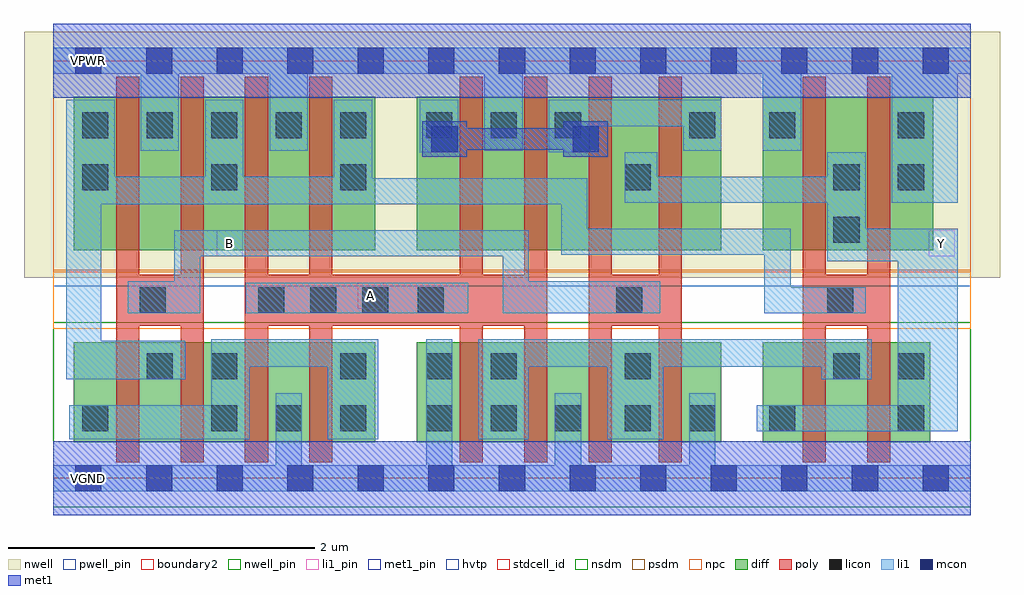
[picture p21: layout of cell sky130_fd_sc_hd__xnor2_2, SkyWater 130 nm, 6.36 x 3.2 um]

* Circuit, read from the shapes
.subckt sky130_fd_sc_hd__xnor2_2 A B VGND VNB VPB VPWR Y
XM1 n1 B n2 VNB sky130_fd_pr__nfet_01v8 w=0.65 l=0.15 m=2
XM2 VGND A n2 VNB sky130_fd_pr__nfet_01v8 w=0.65 l=0.15 m=2
XM3 n3 A VGND VNB sky130_fd_pr__nfet_01v8 w=0.65 l=0.15 m=2
XM4 n3 B VGND VNB sky130_fd_pr__nfet_01v8 w=0.65 l=0.15 m=2
XM5 n3 n1 Y VNB sky130_fd_pr__nfet_01v8 w=0.65 l=0.15 m=2
XM6 VPWR B n1 VPB sky130_fd_pr__pfet_01v8_hvt w=1 l=0.15 m=2
XM7 VPWR A n1 VPB sky130_fd_pr__pfet_01v8_hvt w=1 l=0.15 m=2
XM8 VPWR A n4 VPB sky130_fd_pr__pfet_01v8_hvt w=1 l=0.15 m=2
XM9 Y B n4 VPB sky130_fd_pr__pfet_01v8_hvt w=1 l=0.15 m=2
XM10 Y n1 VPWR VPB sky130_fd_pr__pfet_01v8_hvt w=1 l=0.15 m=2
.ends

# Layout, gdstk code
import gdstk
lib = gdstk.Library(unit=1e-6, precision=1e-09)
def R(c, l, rs):  # rectangles x0, y0, x1, y1
    for r in rs: c.add(gdstk.rectangle(r[:2], r[2:], *l))
def A(c, l, x, y, w, h, nx, ny, dx, dy):  # array of equal rectangles
    R(c, l, [(x+i*dx, y+j*dy, x+i*dx+w, y+j*dy+h) for i in range(nx) for j in range(ny)])
def P(c, l, *ps):  # polygons
    for p in ps: c.add(gdstk.Polygon(p, *l))
nwell_pin = (64, 16)
nwell = (64, 20)
diff = (65, 20)
poly = (66, 20)
licon = (66, 44)
li1_pin = (67, 16)
li1 = (67, 20)
mcon = (67, 44)
met1_pin = (68, 16)
met1 = (68, 20)
hvtp = (78, 44)
stdcell_id = (81, 4)
nsdm = (93, 44)
psdm = (94, 20)
npc = (95, 20)
pwell_pin = (122, 16)
boundary2 = (236, 0)

sky130_fd_sc_hd__xnor2_2 = lib.new_cell('sky130_fd_sc_hd__xnor2_2')
R(sky130_fd_sc_hd__xnor2_2, nwell_pin, [(0.145,2.635,0.315,2.805)])
R(sky130_fd_sc_hd__xnor2_2, nwell, [(-0.19,1.305,6.17,2.91)])
R(sky130_fd_sc_hd__xnor2_2, diff, [(0.135,0.235,2.1,0.885), (2.37,0.235,4.355,0.885), (4.625,0.235,5.715,0.885), (0.135,1.485,2.1,2.485), (2.37,1.485,4.355,2.485), (4.625,1.485,5.735,2.485)])
P(sky130_fd_sc_hd__xnor2_2, poly, [(0.98,2.615),(0.83,2.615),(0.83,1.325),(0.56,1.325),(0.56,2.615),(0.41,2.615),(0.41,0.105),(0.56,0.105),(0.56,0.995),(0.83,0.995),(0.83,0.105),(0.98,0.105)],
  [(3.22,2.615),(3.07,2.615),(3.07,1.325),(2.8,1.325),(2.8,2.615),(2.65,2.615),(2.65,1.325),(1.82,1.325),(1.82,2.615),(1.67,2.615),(1.67,1.325),(1.4,1.325),(1.4,2.615),(1.25,2.615),(1.25,0.105),(1.4,0.105),(1.4,0.995),(1.67,0.995),(1.67,0.105),(1.82,0.105),(1.82,0.995),(2.65,0.995),(2.65,0.105),(2.8,0.105),(2.8,0.995),(3.07,0.995),(3.07,0.105),(3.22,0.105)],
  [(4.095,2.615),(3.945,2.615),(3.945,1.325),(3.64,1.325),(3.64,2.615),(3.49,2.615),(3.49,0.105),(3.64,0.105),(3.64,0.995),(3.945,0.995),(3.945,0.105),(4.095,0.105)],
  [(5.455,2.615),(5.305,2.615),(5.305,1.325),(5.035,1.325),(5.035,2.615),(4.885,2.615),(4.885,0.105),(5.035,0.105),(5.035,0.995),(5.305,0.995),(5.305,0.105),(5.455,0.105)])
A(sky130_fd_sc_hd__xnor2_2, licon, 1.03, 0.305, 0.17, 0.17, 3, 1, 0.42, 0)
A(sky130_fd_sc_hd__xnor2_2, licon, 2.43, 0.305, 0.17, 0.17, 3, 2, 0.42, 1.91)
A(sky130_fd_sc_hd__xnor2_2, licon, 1.335, 1.075, 0.17, 0.17, 3, 1, 0.34, 0)
A(sky130_fd_sc_hd__xnor2_2, licon, 0.19, 1.875, 0.17, 0.17, 3, 1, 0.84, 0)
A(sky130_fd_sc_hd__xnor2_2, licon, 0.19, 2.215, 0.17, 0.17, 5, 1, 0.42, 0)
R(sky130_fd_sc_hd__xnor2_2, licon, [(0.19,0.305,0.36,0.475), (3.725,0.305,3.895,0.475), (4.145,0.305,4.315,0.475), (4.665,0.305,4.835,0.475), (5.505,0.305,5.675,0.475), (0.61,0.645,0.78,0.815), (1.03,0.645,1.2,0.815), (1.87,0.645,2.04,0.815), (2.43,0.645,2.6,0.815), (2.85,0.645,3.02,0.815), (3.725,0.645,3.895,0.815), (5.085,0.645,5.255,0.815), (5.505,0.645,5.675,0.815), (0.565,1.075,0.735,1.245), (2.375,1.075,2.545,1.245), (3.67,1.075,3.84,1.245), (5.045,1.075,5.215,1.245), (5.085,1.535,5.255,1.705), (3.725,1.875,3.895,2.045), (5.085,1.875,5.255,2.045), (5.505,1.875,5.675,2.045), (4.145,2.215,4.315,2.385), (4.665,2.215,4.835,2.385), (5.505,2.215,5.675,2.385)])
R(sky130_fd_sc_hd__xnor2_2, li1_pin, [(1.985,1.105,2.155,1.275), (1.065,1.445,1.235,1.615), (5.705,1.445,5.875,1.615)])
R(sky130_fd_sc_hd__xnor2_2, li1, [(1.255,1.075,2.705,1.275), (2.39,2.125,2.64,2.465)])
P(sky130_fd_sc_hd__xnor2_2, li1, [(2.12,0.905),(1.03,0.905),(1.03,0.475),(0.105,0.475),(0.105,0.255),(1.28,0.255),(1.28,0.725),(1.79,0.725),(1.79,0.255),(2.12,0.255)],
  [(4.355,2.465),(3.23,2.465),(3.23,2.125),(3.555,2.125),(3.555,2.295),(4.105,2.295),(4.105,2.135),(4.355,2.135)],
  [(5.295,1.245),(4.805,1.245),(4.805,1.625),(3.48,1.625),(3.48,1.955),(2.08,1.955),(2.08,2.465),(1.83,2.465),(1.83,1.965),(1.24,1.965),(1.24,2.465),(0.99,2.465),(0.99,1.965),(0.4,1.965),(0.4,2.465),(0.085,2.465),(0.085,0.645),(0.86,0.645),(0.86,0.895),(0.315,0.895),(0.315,1.785),(3.31,1.785),(3.31,1.455),(4.635,1.455),(4.635,1.075),(5.295,1.075)],
  [(5.335,0.905),(2.77,0.905),(2.77,0.255),(3.1,0.255),(3.1,0.725),(3.61,0.725),(3.61,0.255),(3.975,0.255),(3.975,0.725),(5.005,0.725),(5.005,0.645),(5.335,0.645)],
  [(5.895,1.625),(5.295,1.625),(5.295,2.125),(5.045,2.125),(5.045,1.965),(3.935,1.965),(3.935,2.125),(3.725,2.125),(3.725,1.795),(5.045,1.795),(5.045,1.415),(5.505,1.415),(5.505,0.475),(4.585,0.475),(4.585,0.305),(5.895,0.305)],
  [(5.98,2.805),(0,2.805),(0,2.635),(0.57,2.635),(0.57,2.135),(0.82,2.135),(0.82,2.635),(1.41,2.635),(1.41,2.135),(1.66,2.135),(1.66,2.635),(2.81,2.635),(2.81,2.135),(3.06,2.135),(3.06,2.635),(4.625,2.635),(4.625,2.135),(4.875,2.135),(4.875,2.635),(5.465,2.635),(5.465,1.795),(5.895,1.795),(5.895,2.635),(5.98,2.635)],
  [(5.98,0.085),(4.315,0.085),(4.315,0.555),(4.145,0.555),(4.145,0.085),(3.44,0.085),(3.44,0.555),(3.27,0.555),(3.27,0.085),(2.6,0.085),(2.6,0.905),(2.43,0.905),(2.43,0.085),(1.62,0.085),(1.62,0.555),(1.45,0.555),(1.45,0.085),(0,0.085),(0,-0.085),(5.98,-0.085)],
  [(3.955,1.285),(3.1,1.285),(3.1,1.615),(0.79,1.615),(0.79,1.285),(0.485,1.285),(0.485,1.075),(0.96,1.075),(0.96,1.445),(2.93,1.445),(2.93,1.075),(3.955,1.075)])
A(sky130_fd_sc_hd__xnor2_2, mcon, 0.145, -0.085, 0.17, 0.17, 13, 2, 0.46, 2.72)
R(sky130_fd_sc_hd__xnor2_2, mcon, [(2.465,2.125,2.635,2.295), (3.385,2.125,3.555,2.295)])
R(sky130_fd_sc_hd__xnor2_2, met1_pin, [(0.145,-0.085,0.315,0.085), (0.145,2.635,0.315,2.805)])
P(sky130_fd_sc_hd__xnor2_2, met1, [(3.615,2.325),(3.325,2.325),(3.325,2.28),(2.695,2.28),(2.695,2.325),(2.405,2.325),(2.405,2.095),(2.695,2.095),(2.695,2.14),(3.325,2.14),(3.325,2.095),(3.615,2.095)])
R(sky130_fd_sc_hd__xnor2_2, hvtp, [(0,1.25,5.98,2.72)])
R(sky130_fd_sc_hd__xnor2_2, stdcell_id, [(0,0,5.98,2.72)])
R(sky130_fd_sc_hd__xnor2_2, nsdm, [(0,-0.19,5.98,1.015)])
R(sky130_fd_sc_hd__xnor2_2, psdm, [(0,1.355,5.98,2.91)])
R(sky130_fd_sc_hd__xnor2_2, npc, [(0,0.975,5.98,1.345)])
R(sky130_fd_sc_hd__xnor2_2, pwell_pin, [(0.145,-0.085,0.315,0.085)])
R(sky130_fd_sc_hd__xnor2_2, boundary2, [(0,0,5.98,2.72)])
sky130_fd_sc_hd__xnor2_2.add(gdstk.FlexPath([(0,0),(5.98,0)], 0.48, ends="flush", simple_path=True, layer=68, datatype=20))  # met1
sky130_fd_sc_hd__xnor2_2.add(gdstk.FlexPath([(0,2.72),(5.98,2.72)], 0.48, ends="flush", simple_path=True, layer=68, datatype=20))  # met1
sky130_fd_sc_hd__xnor2_2.add(gdstk.Label('VGND', (0.23,0), layer=68, texttype=5))
sky130_fd_sc_hd__xnor2_2.add(gdstk.Label('VPWR', (0.23,2.72), layer=68, texttype=5))
sky130_fd_sc_hd__xnor2_2.add(gdstk.Label('Y', (5.79,1.53), layer=67, texttype=5))
sky130_fd_sc_hd__xnor2_2.add(gdstk.Label('A', (2.07,1.19), layer=67, texttype=5))
sky130_fd_sc_hd__xnor2_2.add(gdstk.Label('B', (1.15,1.53), layer=67, texttype=5))
sky130_fd_sc_hd__xnor2_2.add(gdstk.Label('VPB', (0.23,2.72), layer=64, texttype=5))
sky130_fd_sc_hd__xnor2_2.add(gdstk.Label('VNB', (0.23,0), layer=64, texttype=59))
sky130_fd_sc_hd__xnor2_2.add(gdstk.Label('xnor2_2', (0,0), layer=83, texttype=44))

lib.write_gds('sky130_fd_sc_hd__xnor2_2.gds')
